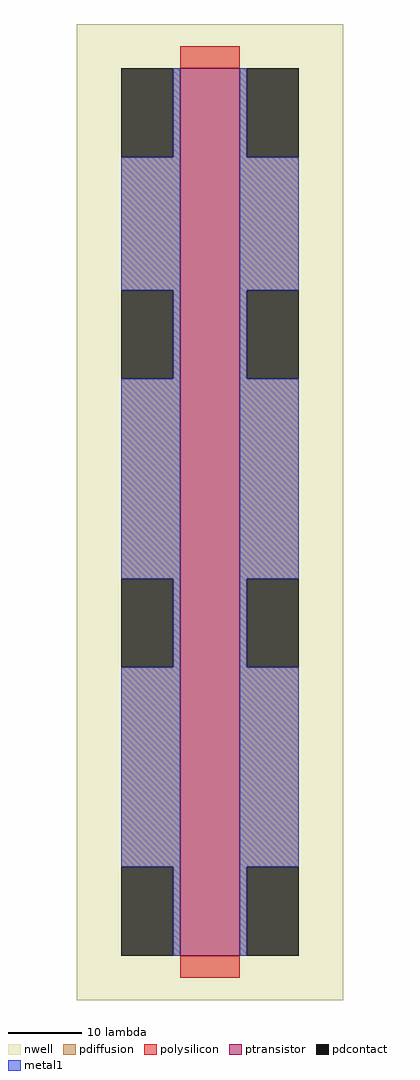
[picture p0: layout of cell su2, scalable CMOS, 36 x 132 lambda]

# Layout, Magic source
magic
tech scmos
<< nwell >>
rect -6 -6 30 126
<< ptransistor >>
rect 8 0 16 120
<< pdiffusion >>
rect 7 108 8 120
rect 0 90 8 108
rect 7 78 8 90
rect 0 51 8 78
rect 7 39 8 51
rect 0 12 8 39
rect 7 0 8 12
rect 16 108 17 120
rect 16 90 24 108
rect 16 78 17 90
rect 16 51 24 78
rect 16 39 17 51
rect 16 12 24 39
rect 16 0 17 12
<< pdcontact >>
rect 0 108 7 120
rect 0 78 7 90
rect 0 39 7 51
rect 0 0 7 12
rect 17 108 24 120
rect 17 78 24 90
rect 17 39 24 51
rect 17 0 24 12
<< polysilicon >>
rect 8 120 16 123
rect 8 -3 16 0
<< metal1 >>
rect 7 108 8 120
rect 0 90 8 108
rect 7 78 8 90
rect 0 51 8 78
rect 7 39 8 51
rect 0 12 8 39
rect 7 0 8 12
rect 16 108 17 120
rect 16 90 24 108
rect 16 78 17 90
rect 16 51 24 78
rect 16 39 17 51
rect 16 12 24 39
rect 16 0 17 12
<< end >>
